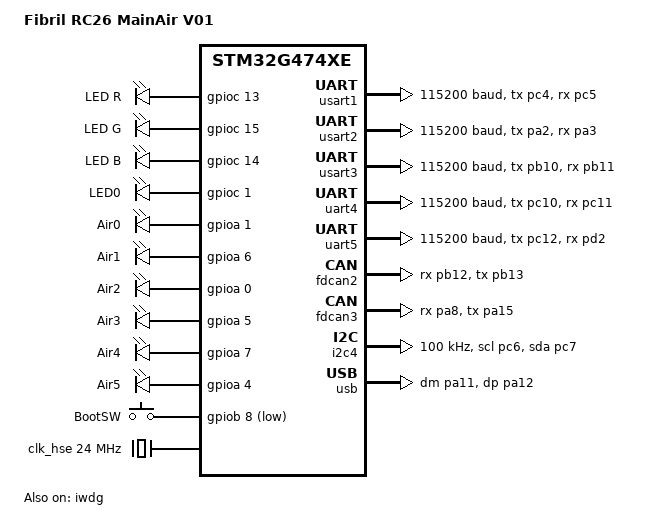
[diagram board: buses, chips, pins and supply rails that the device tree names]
/*
 * SPDX-License-Identifier: Apache-2.0
 *
 * Board configuration for the Fibril RC26 MainAir V01. Pin assignments are
 * taken from RC26_MainAir_v01.kicad_sch (ForteFibre_PCB/MainBoard). The MCU is
 * STM32G474RE in LQFP-64 with a 24 MHz HSE, and the board carries two CAN FD
 * transceivers, five UART breakouts, a USB-C device port, two quadrature
 * encoder sockets, an I2C gyro socket, and six +12 V pneumatic-valve outputs
 * driven through a TBD62783A source driver.
 */

/dts-v1/;
#include <st/g4/stm32g474Xe.dtsi>
#include <st/g4/stm32g474r(b-c-e)tx-pinctrl.dtsi>
#include <zephyr/dt-bindings/input/input-event-codes.h>

/ {
	model = "Fibril RC26 MainAir V01";
	compatible = "fibril,rc26-mainair-v01";

	chosen {
		/* USART3 is wired to the SWD/debug header J1 (pins 4/5) and to
		 * the J13 PH breakout. Both share the same series network, so
		 * only one may be attached at a time.
		 */
		zephyr,console = &usart3;
		zephyr,shell-uart = &usart3;
		zephyr,sram = &sram0;
		zephyr,flash = &flash0;
	};

	leds: leds {
		compatible = "gpio-leds";

		/* RGB status LED D5 (common-cathode, driven high to light). */
		led_r: led_r {
			gpios = <&gpioc 13 GPIO_ACTIVE_HIGH>;
			label = "LED R";
		};

		led_g: led_g {
			gpios = <&gpioc 15 GPIO_ACTIVE_HIGH>;
			label = "LED G";
		};

		led_b: led_b {
			gpios = <&gpioc 14 GPIO_ACTIVE_HIGH>;
			label = "LED B";
		};

		/* Standalone user LED D4 next to the RGB indicator. */
		led_user: led_user {
			gpios = <&gpioc 1 GPIO_ACTIVE_HIGH>;
			label = "LED0";
		};
	};

	/* Six +12 V high-side switched outputs feeding the pneumatic-valve
	 * connectors J18–J23. Each MCU pin drives an input of the TBD62783A
	 * source driver (U13); the labels match the board silkscreen.
	 */
	air_outputs: air_outputs {
		compatible = "gpio-leds";

		air0: air0 {
			gpios = <&gpioa 1 GPIO_ACTIVE_HIGH>;
			label = "Air0";
		};

		air1: air1 {
			gpios = <&gpioa 6 GPIO_ACTIVE_HIGH>;
			label = "Air1";
		};

		air2: air2 {
			gpios = <&gpioa 0 GPIO_ACTIVE_HIGH>;
			label = "Air2";
		};

		air3: air3 {
			gpios = <&gpioa 5 GPIO_ACTIVE_HIGH>;
			label = "Air3";
		};

		air4: air4 {
			gpios = <&gpioa 7 GPIO_ACTIVE_HIGH>;
			label = "Air4";
		};

		air5: air5 {
			gpios = <&gpioa 4 GPIO_ACTIVE_HIGH>;
			label = "Air5";
		};
	};

	/* User pushbutton SW2 (BootSW), momentary-to-GND with an external
	 * pull-up. Not wired to STM32 BOOT0 — plain GPIO input.
	 */
	buttons: buttons {
		compatible = "gpio-keys";
		status = "okay";

		user_button: user_button {
			label = "BootSW";
			gpios = <&gpiob 8 (GPIO_PULL_UP | GPIO_ACTIVE_LOW)>;
			zephyr,code = <INPUT_KEY_0>;
		};
	};

	aliases {
		led0 = &led_user;
		watchdog0 = &iwdg;
		/* Board silkscreen labels the CAN buses "CAN0"/"CAN1", but the
		 * underlying FDCAN instances are swapped: external CAN0 uses
		 * FDCAN3 (PA8/PA15) and external CAN1 uses FDCAN2 (PB12/PB13).
		 */
		can0 = &fdcan3;
		can1 = &fdcan2;
		sw0 = &user_button;
	};
};

/* HSE 24 MHz crystal (Y1) -> PLL -> 160 MHz SYSCLK. HSI48 is left on so USB and
 * other 48 MHz peripherals can source from it through CLK48_SEL when needed.
 */
&clk_hse {
	clock-frequency = <DT_FREQ_M(24)>;
	status = "okay";
};

&clk_hsi48 {
	status = "okay";
};

/* PLL_Q is used as the FDCAN kernel clock (see &fdcan2/&fdcan3 below). We need
 * it at or below FDCAN's 80 MHz ceiling and high enough that the 5 Mbps FD
 * data phase has integer time-quanta per bit. VCO = 24 MHz / div-m * mul-n =
 * 320 MHz, so div-q = 4 lands PLL_Q at 80 MHz — 16 tq @ 5 Mbps, 80 tq @
 * 1 Mbps. HSE (24 MHz) would leave 4.8 tq/bit at 5 Mbps, not representable.
 */
&pll {
	div-m = <6>;
	mul-n = <80>;
	div-p = <2>;
	div-q = <4>;
	div-r = <2>;
	clocks = <&clk_hse>;
	status = "okay";
};

&rcc {
	clocks = <&pll>;
	clock-frequency = <DT_FREQ_M(160)>;
	ahb-prescaler = <1>;
	apb1-prescaler = <1>;
	apb2-prescaler = <1>;
};

/* USART1 -> J14 PH UART breakout (TX=PC4, RX=PC5). */
&usart1 {
	pinctrl-0 = <&usart1_tx_pc4 &usart1_rx_pc5>;
	pinctrl-names = "default";
	current-speed = <115200>;
};

/* USART2 -> J16 PH UART breakout (TX=PA2, RX=PA3). */
&usart2 {
	pinctrl-0 = <&usart2_tx_pa2 &usart2_rx_pa3>;
	pinctrl-names = "default";
	current-speed = <115200>;
};

/* USART3 is the console: SWD/debug header J1 (pins 4/5) and J13 PH share the
 * same TX/RX network, so only one may be attached at a time.
 */
&usart3 {
	pinctrl-0 = <&usart3_tx_pb10 &usart3_rx_pb11>;
	pinctrl-names = "default";
	current-speed = <115200>;
	status = "okay";
};

/* UART4 -> J17 PH UART breakout (TX=PC10, RX=PC11). */
&uart4 {
	pinctrl-0 = <&uart4_tx_pc10 &uart4_rx_pc11>;
	pinctrl-names = "default";
	current-speed = <115200>;
};

/* UART5 is fanned out to J15 PH UART and J25 gyro socket (pins 3/4). Same
 * collision rule as USART3 — only one of the two may be attached at a time.
 */
&uart5 {
	pinctrl-0 = <&uart5_tx_pc12 &uart5_rx_pd2>;
	pinctrl-names = "default";
	current-speed = <115200>;
};

/* All FDCAN kernel-clocks are PLL_Q at 80 MHz — the FDCAN ceiling. That
 * kernel rate is shared across every FDCAN instance on this SoC and is high
 * enough to divide cleanly at both 1 Mbps arbitration (80 tq/bit) and 5 Mbps
 * FD data (16 tq/bit). Overlays only need to flip status to "okay" and set
 * the bitrate.
 *
 * FDCAN1 has no transceiver on this board — leave it disabled.
 */

/* External CAN1 (board label) -> FDCAN2 transceiver IC1 on PB12/PB13.
 * IC1 STB is on PA10 (drive low to run, high for standby).
 */
&fdcan2 {
	clocks = <&rcc STM32_CLOCK(APB1, 25)>,
		 <&rcc STM32_SRC_PLL_Q FDCAN_SEL(1)>;
	pinctrl-0 = <&fdcan2_rx_pb12 &fdcan2_tx_pb13>;
	pinctrl-names = "default";
};

/* External CAN0 (board label) -> FDCAN3 transceiver IC2 on PA8/PA15.
 * IC2 STB is on PA9 (drive low to run, high for standby).
 */
&fdcan3 {
	clocks = <&rcc STM32_CLOCK(APB1, 25)>,
		 <&rcc STM32_SRC_PLL_Q FDCAN_SEL(1)>;
	pinctrl-0 = <&fdcan3_rx_pa8 &fdcan3_tx_pa15>;
	pinctrl-names = "default";
};

/* I2C4 -> J26 gyro socket (SCL=PC6, SDA=PC7). 4.7 kΩ pull-ups on board. */
&i2c4 {
	pinctrl-0 = <&i2c4_scl_pc6 &i2c4_sda_pc7>;
	pinctrl-names = "default";
	clock-frequency = <I2C_BITRATE_STANDARD>;
};

/* Quadrature encoder inputs. TIM3_CH1/CH2 on PB4/PB5 for J11 (Encoder3) and
 * TIM4_CH1/CH2 on PB6/PB7 for J12 (Encoder4). Pinctrl is set here; overlays
 * enable the timer and attach an st,stm32-qdec child.
 */
&timers3 {
	pinctrl-0 = <&tim3_ch1_pb4 &tim3_ch2_pb5>;
	pinctrl-names = "default";
};

&timers4 {
	pinctrl-0 = <&tim4_ch1_pb6 &tim4_ch2_pb7>;
	pinctrl-names = "default";
};

/* Addressable RGB LED D10 (WS281x-family) hangs off PB9. PB9 can be driven by
 * TIM17_CH1 or SPI2_NSS — leave the pin free here and let overlays pick a
 * driver.
 */

zephyr_udc0: &usb {
	pinctrl-0 = <&usb_dm_pa11 &usb_dp_pa12>;
	pinctrl-names = "default";
};

&iwdg {
	status = "okay";
};

&flash0 {
	partitions {
		compatible = "fixed-partitions";
		#address-cells = <1>;
		#size-cells = <1>;

		boot_partition: partition@0 {
			label = "mcuboot";
			reg = <0x00000000 DT_SIZE_K(48)>;
			read-only;
		};

		slot0_partition: partition@c000 {
			label = "image-0";
			reg = <0x0000c000 DT_SIZE_K(228)>;
		};

		slot1_partition: partition@45000 {
			label = "image-1";
			reg = <0x00045000 DT_SIZE_K(228)>;
		};

		storage_partition: partition@7e000 {
			label = "storage";
			reg = <0x0007e000 DT_SIZE_K(8)>;
		};
	};
};
